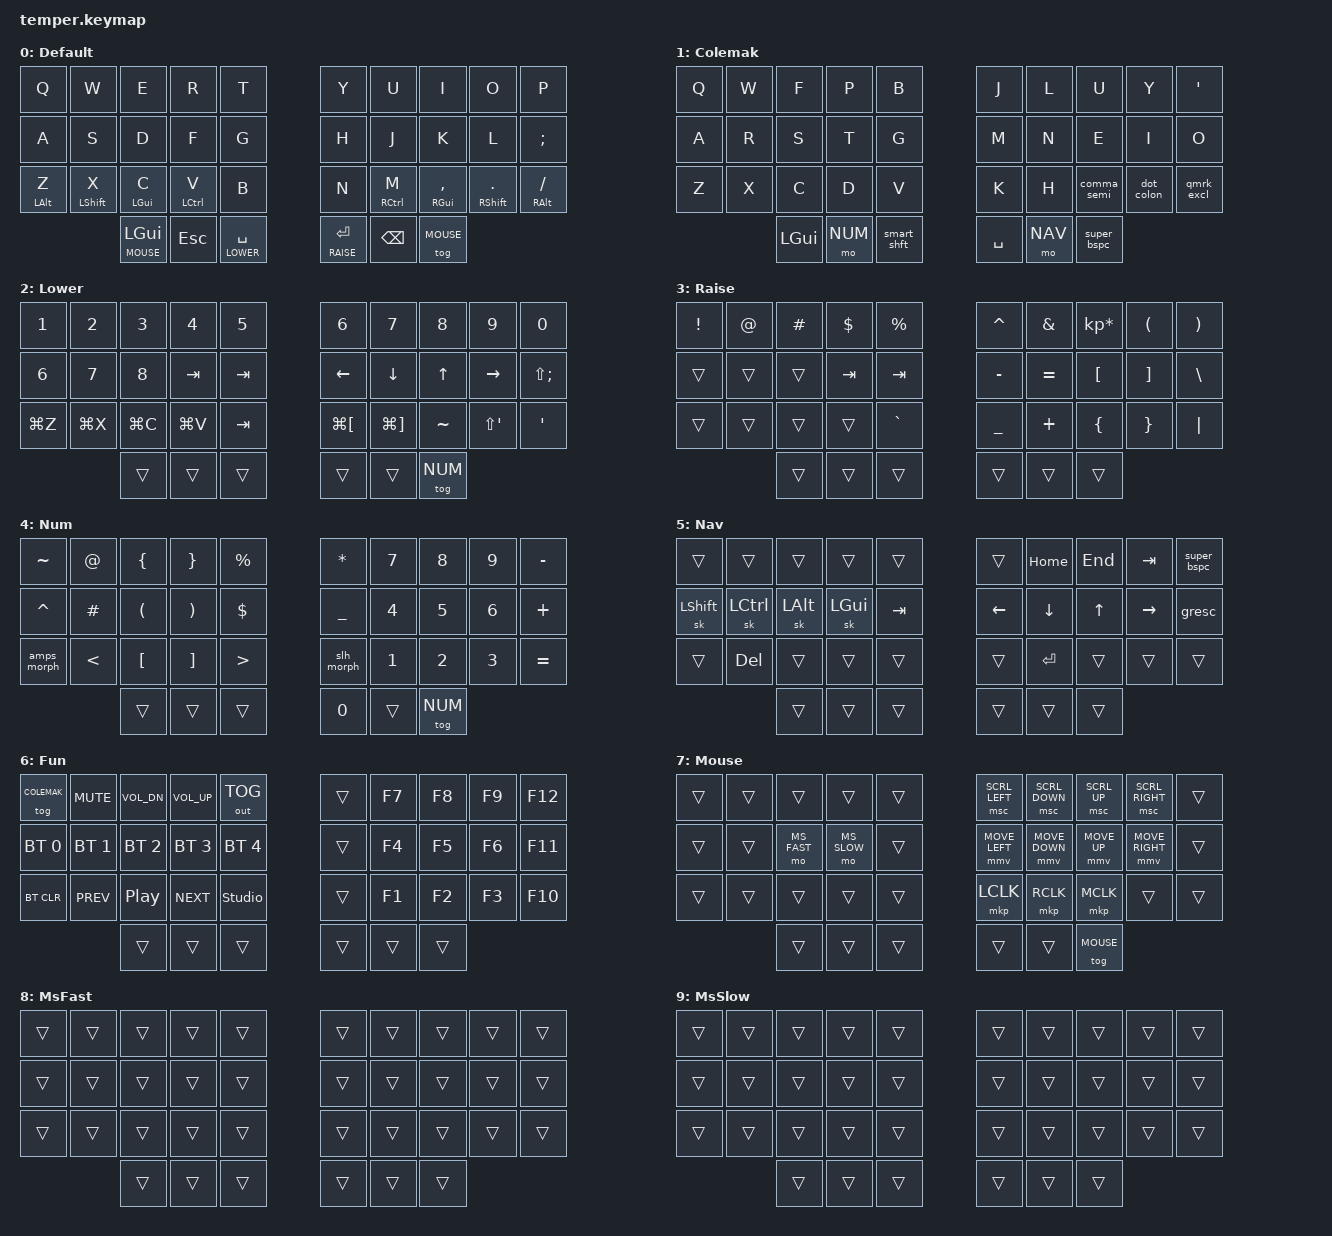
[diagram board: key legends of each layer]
/*
 * Copyright (c) 2020 The ZMK Contributors
 *
 * SPDX-License-Identifier: MIT
 */

#include <behaviors.dtsi>
#include <dt-bindings/zmk/keys.h>
#include <dt-bindings/zmk/bt.h>
#include <dt-bindings/zmk/outputs.h>
// Mouse speed tuning — currently at ZMK defaults; bump these to go faster.
#define ZMK_POINTING_DEFAULT_MOVE_VAL 600   // default: 600
#define ZMK_POINTING_DEFAULT_SCRL_VAL 10    // default: 10
#include <dt-bindings/zmk/pointing.h>
#include <input/processors.dtsi>

#define DEFAULT 0
#define COLEMAK 1
#define LOWER 2
#define RAISE 3
#define NUM 4
#define NAV 5
#define FUN 6
#define MOUSE 7
#define MS_FAST 8
#define MS_SLOW 9

#define NUMS 3
#define ADJUST 4
#define LOCK 5

#define BACK C_AC_BACK
#define FWD C_AC_FORWARD
#define PAUSE PAUSE_BREAK
#define VOL_DN C_VOL_DN
#define VOL_UP C_VOL_UP

#define LC_SPC LC(SPACE)
#define ZM_IN LC(EQUAL)
#define ZM_OUT LC(MINUS)
#define ZM_RST LC(N0)

#define BT0 BT_SEL 0
#define BT1 BT_SEL 1
#define BT2 BT_SEL 2
#define BT3 BT_SEL 3
#define BT4 BT_SEL 4


#define HYP LS(LC(LA(LGUI)))
#define HYPER(key) LS(LC(LA(LG(key))))

// key positions
// --------------------------------------------------------------------------------
//  |  0  |  1  |  2  |  3  |  4  |     |  5  |  6  |  7  |  8  |  9  |
//  |  10 |  11 |  12 |  13 |  14 |     |  15 |  16 |  17 |  18 |  19 |
//  |  20 |  21 |  22 |  23 |  24 |     |  25 |  26 |  27 |  28 |  29 |
//              |  30 |  31 |  32 |     |  33 |  34 |  35 |

#define KEYS_L 0 1 2 3 4 10 11 12 13 14 20 21 22 23 24 // left-hand keys
#define KEYS_R 5 6 7 8 9 15 16 17 18 19 25 26 27 28 29 // right-hand keys
#define THUMBS 30 31 32 33 34 35                       // thumb keys

// &nice_view_spi {
//  cs-gpios = <&pro_micro 0 GPIO_ACTIVE_HIGH>;
// };

&mt {
  retro-tap;
};

// Mouse speed overrides: when MS_FAST/MS_SLOW layers are active, scale pointer + scroll speed.
&mmv_input_listener {
  mmv_fast {
    layers = <MS_FAST>;
    input-processors = <&zip_xy_scaler 2 1>;   // 2x movement
  };
  mmv_slow {
    layers = <MS_SLOW>;
    input-processors = <&zip_xy_scaler 1 2>;   // 1/2 movement (precision)
  };
};

&msc_input_listener {
  msc_fast {
    layers = <MS_FAST>;
    input-processors = <&zip_scroll_scaler 2 1>;  // 2x scroll
  };
  msc_slow {
    layers = <MS_SLOW>;
    input-processors = <&zip_scroll_scaler 1 2>;  // 1/2 scroll
  };
};

&sk {
  //release-after-ms = <2000>;
  quick-release;
  // /delete-property/ ignore-modifiers;
};

&lt {
    quick-tap-ms = <200>;
    //tapping-term-ms = <250>;
};

/ {
  // conditional_layers {
  //   compatible = "zmk,conditional-layers";
  //
  //   tri_layer {
  //     if-layers = <LOWER RAISE>;
  //     then-layer = <ADJUST>;
  //   };
  // };
  conditional_layers {
    compatible = "zmk,conditional-layers";
    tri_layer {
      // if-layers = <NUM NAV>;
      if-layers = <LOWER RAISE>;
      then-layer = <FUN>;
    };
  };
  macros {
    none_blk: none_blk {
      label = "NON_BLOCKING";
      compatible = "zmk,behavior-macro";
      #binding-cells = <0>;
      bindings = <&macro_tap &kp LS(COMMA) &kp EQUAL>;
    };
   cmd_mode: cmd_mode {
      label = "VIM_CMD_MODE";
      compatible = "zmk,behavior-macro";
      #binding-cells = <0>;
      bindings = <&macro_tap &kp ESC &kp LS(SEMI)>;
    };
  };
  combos {
    compatible = "zmk,combos";

    combo_caps {
      timeout-ms = <50>;
      key-positions = <20 29>;
      bindings = <&caps_word>;
    };
    combo_esc { // J+K = ESC
      timeout-ms = <50>;
      key-positions = <16 17>;
      bindings = <&kp ESC>;
    };
    combo_vim_cmd { // L+; = ESC :
      timeout-ms = <50>;
      key-positions = <18 19>;
      bindings = <&cmd_mode>;
    };
  };
  behaviors {
    hml: home_mode_left {
      compatible = "zmk,behavior-hold-tap";
      label = "HML";
      #binding-cells = <2>;
      flavor = "balanced";
      tapping-term-ms = <280>;
      quick-tap-ms = <175>;                 // repeat on tap-into-hold
      require-prior-idle-ms = <150>;
      bindings = <&kp>, <&kp>;
      hold-trigger-key-positions = <KEYS_R THUMBS>;
      hold-trigger-on-release;              // delay positional check until key-release
    };
    hmr: home_mode_right {
      compatible = "zmk,behavior-hold-tap";
      label = "HMR";
      #binding-cells = <2>;
      flavor = "balanced";
      tapping-term-ms = <280>;
      quick-tap-ms = <175>;                 // repeat on tap-into-hold
      require-prior-idle-ms = <150>;
      bindings = <&kp>, <&kp>;
      hold-trigger-key-positions = <KEYS_L THUMBS>;
      hold-trigger-on-release;              // delay positional check until key-release
    };
    bspc_del: backspace_delete {
        compatible = "zmk,behavior-mod-morph";
        #binding-cells = <0>;
        bindings = <&kp BACKSPACE>, <&kp DELETE>;
        mods = <(MOD_LSFT|MOD_RSFT)>;
        keep-mods = <(MOD_RSFT)>;
    };
    super_bspc: super_backspace {
        compatible = "zmk,behavior-mod-morph";
        #binding-cells = <0>;
        bindings = <&kp BACKSPACE>, <&kp LA(BACKSPACE)>;
        mods = <(MOD_LSFT|MOD_RSFT)>;
    };
    smart_shft: smart_shift {
        compatible = "zmk,behavior-mod-morph";
        #binding-cells = <0>;
        bindings = <&kp LSHFT>, <&caps_word>;
        mods = <(MOD_LSFT)>;
    };
    comma_semi: comma_semi {
        compatible = "zmk,behavior-mod-morph";
        #binding-cells = <0>;
        bindings = <&kp COMMA>, <&kp SEMI>;
        mods = <(MOD_LSFT)>;
    };
    dot_colon: dot_colon {
        compatible = "zmk,behavior-mod-morph";
        #binding-cells = <0>;
        bindings = <&kp DOT>, <&kp COLON>;
        mods = <(MOD_LSFT)>;
    };
    qmrk_excl: qmrk_excl {
        compatible = "zmk,behavior-mod-morph";
        #binding-cells = <0>;
        bindings = <&kp QMARK>, <&kp EXCL>;
        mods = <(MOD_LSFT)>;
    };
    slh_morph: slh_morph {
        compatible = "zmk,behavior-mod-morph";
        #binding-cells = <0>;
        bindings = <&kp FSLH>, <&kp BSLH>;
        mods = <(MOD_LSFT)>;
    };
    amps_morph: amps_morph {
        compatible = "zmk,behavior-mod-morph";
        #binding-cells = <0>;
        bindings = <&kp AMPS>, <&kp PIPE>;
        mods = <(MOD_LSFT)>;
    };
    mlt: mouse_layer_tap {
        compatible = "zmk,behavior-hold-tap";
        label = "MOUSE_LAYER_TAP";
        #binding-cells = <2>;
        flavor = "balanced";       // activate layer cleanly while held, tap still sends the key
        tapping-term-ms = <200>;
        quick-tap-ms = <200>;
        bindings = <&mo>, <&kp>;
    };
  };
        keymap {
                compatible = "zmk,keymap";

                default_layer {
                        display-name = "Default";
                        bindings = <
// ╭─────────────┬─────────────┬─────────────┬─────────────┬─────────────╮   ╭─────────────┬─────────────┬─────────────┬─────────────┬─────────────╮
        &kp Q         &kp W         &kp E         &kp R         &kp T              &kp Y        &kp U         &kp I         &kp O         &kp P   
// ├─────────────┼─────────────┼─────────────┼─────────────┼─────────────┤   ├─────────────┼─────────────┼─────────────┼─────────────┼─────────────┤
        &kp A         &kp S         &kp D         &kp F         &kp G              &kp H        &kp J         &kp K         &kp L       &kp SEMI
// ├─────────────┼─────────────┼─────────────┼─────────────┼─────────────┤   ├─────────────┼─────────────┼─────────────┼─────────────┼─────────────┤
    &hml LALT Z    &hml LSHFT X  &hml LGUI C   &hml LCTRL V     &kp B              &kp N    &hmr RCTRL M &hmr RGUI COMMA &hmr RSHFT DOT &hmr RALT FSLH
// ╰─────────────┴─────────────┼─────────────┼─────────────┼─────────────┤   ├─────────────┼─────────────┼─────────────┼─────────────┴─────────────╯
                              &mlt MOUSE LGUI  &kp ESC      &lt LOWER SPACE   &lt RAISE RET  &kp BSPC    &tog MOUSE
//                             ╰─────────────┴─────────────┴─────────────╯   ╰─────────────┴─────────────┴─────────────╯
                        >;
                };
                colemak_layer {
                        display-name = "Colemak";
                        bindings = <
// ╭─────────────┬─────────────┬─────────────┬─────────────┬─────────────╮   ╭─────────────┬─────────────┬─────────────┬─────────────┬─────────────╮
        &kp Q         &kp W         &kp F         &kp P         &kp B             &kp J         &kp L         &kp U         &kp Y       &kp APOS   
// ├─────────────┼─────────────┼─────────────┼─────────────┼─────────────┤   ├─────────────┼─────────────┼─────────────┼─────────────┼─────────────┤
        &kp A         &kp R         &kp S         &kp T         &kp G             &kp M         &kp N         &kp E         &kp I         &kp O
// ├─────────────┼─────────────┼─────────────┼─────────────┼─────────────┤   ├─────────────┼─────────────┼─────────────┼─────────────┼─────────────┤
        &kp Z         &kp X         &kp C         &kp D         &kp V             &kp K         &kp H      &comma_semi    &dot_colon    &qmrk_excl
// ╰─────────────┴─────────────┼─────────────┼─────────────┼─────────────┤   ├─────────────┼─────────────┼─────────────┼─────────────┴─────────────╯
                                   &kp LGUI      &mo NUM     &smart_shft        &kp SPACE      &mo NAV     &super_bspc
//                             ╰─────────────┴─────────────┴─────────────╯   ╰─────────────┴─────────────┴─────────────╯
                        >;
                };
                lower_layer {
                        display-name = "Lower";
                        bindings = <
// ╭─────────────┬─────────────┬─────────────┬─────────────┬─────────────╮   ╭─────────────┬─────────────┬─────────────┬─────────────┬─────────────╮
        &kp N1        &kp N2        &kp N3        &kp N4        &kp N5             &kp N6       &kp N7        &kp N8        &kp N9        &kp N0  
// ├─────────────┼─────────────┼─────────────┼─────────────┼─────────────┤   ├─────────────┼─────────────┼─────────────┼─────────────┼─────────────┤
        &kp N6        &kp N7        &kp N8        &kp TAB       &kp TAB         &kp LEFT      &kp DOWN        &kp UP       &kp RIGHT   &kp LS(SEMI)
// ├─────────────┼─────────────┼─────────────┼─────────────┼─────────────┤   ├─────────────┼─────────────┼─────────────┼─────────────┼─────────────┤
       &kp LG(Z)    &kp LG(X)     &kp LG(C)     &kp LG(V)       &kp TAB       &kp LG(LBKT)  &kp LG(RBKT)     &kp TILDE    &kp LS(SQT)    &kp SQT 
// ╰─────────────┴─────────────┼─────────────┼─────────────┼─────────────┤   ├─────────────┼─────────────┼─────────────┼─────────────┴─────────────╯
                                    &trans        &trans        &trans            &trans        &trans       &tog NUM
//                             ╰─────────────┴─────────────┴─────────────╯   ╰─────────────┴─────────────┴─────────────╯
                        >;
                };

                raise_layer {
                        display-name = "Raise";
                        bindings = <
// ╭─────────────┬─────────────┬─────────────┬─────────────┬─────────────╮   ╭─────────────┬─────────────┬─────────────┬─────────────┬─────────────╮
        &kp EXCL      &kp AT        &kp HASH      &kp DLLR      &kp PRCNT       &kp CARET       &kp AMPS &kp KP_MULTIPLY    &kp LPAR      &kp RPAR
// ├─────────────┼─────────────┼─────────────┼─────────────┼─────────────┤   ├─────────────┼─────────────┼─────────────┼─────────────┼─────────────┤
        &trans        &trans        &trans        &kp TAB       &kp TAB         &kp MINUS       &kp EQUAL     &kp LBKT      &kp RBKT      &kp BSLH   
// ├─────────────┼─────────────┼─────────────┼─────────────┼─────────────┤   ├─────────────┼─────────────┼─────────────┼─────────────┼─────────────┤
        &trans        &trans        &trans        &trans      &kp GRAVE         &kp UNDER       &kp PLUS      &kp LBRC      &kp RBRC      &kp PIPE
// ╰─────────────┴─────────────┼─────────────┼─────────────┼─────────────┤   ├─────────────┼─────────────┼─────────────┼─────────────┴─────────────╯
                                    &trans        &trans        &trans            &trans        &trans        &trans
//                             ╰─────────────┴─────────────┴─────────────╯   ╰─────────────┴─────────────┴─────────────╯
//                             &none_blk &kp GRAVE   &kp TILDE
                        >;
                };
                num_layer {
                        display-name = "Num";
                        bindings = <
// ╭─────────────┬─────────────┬─────────────┬─────────────┬─────────────╮   ╭─────────────┬─────────────┬─────────────┬─────────────┬─────────────╮
      &kp TILDE       &kp AT       &kp LBRC      &kp RBRC     &kp PRCNT          &kp STAR       &kp N7        &kp N8        &kp N9      &kp MINUS
// ├─────────────┼─────────────┼─────────────┼─────────────┼─────────────┤   ├─────────────┼─────────────┼─────────────┼─────────────┼─────────────┤
      &kp CARET      &kp HASH      &kp LPAR      &kp RPAR      &kp DLLR         &kp UNDER       &kp N4        &kp N5        &kp N6      &kp PLUS
// ├─────────────┼─────────────┼─────────────┼─────────────┼─────────────┤   ├─────────────┼─────────────┼─────────────┼─────────────┼─────────────┤
      &amps_morph     &kp LT       &kp LBKT      &kp RBKT       &kp GT          &slh_morph      &kp N1        &kp N2        &kp N3      &kp EQUAL
// ╰─────────────┴─────────────┼─────────────┼─────────────┼─────────────┤   ├─────────────┼─────────────┼─────────────┼─────────────┴─────────────╯
                                    &trans        &trans        &trans            &kp N0        &trans        &tog NUM
//                             ╰─────────────┴─────────────┴─────────────╯   ╰─────────────┴─────────────┴─────────────╯
                        >;
                };

                nav_layer {
                        display-name = "Nav";
                        bindings = <
// ╭─────────────┬─────────────┬─────────────┬─────────────┬─────────────╮   ╭─────────────┬─────────────┬─────────────┬─────────────┬─────────────╮
        &trans        &trans        &trans        &trans        &trans            &trans       &kp HOME      &kp END       &kp TAB     &super_bspc
// ├─────────────┼─────────────┼─────────────┼─────────────┼─────────────┤   ├─────────────┼─────────────┼─────────────┼─────────────┼─────────────┤
      &sk LSHFT     &sk LCTRL      &sk LALT      &sk LGUI      &kp TAB           &kp LEFT      &kp DOWN       &kp UP      &kp RIGHT       &gresc
// ├─────────────┼─────────────┼─────────────┼─────────────┼─────────────┤   ├─────────────┼─────────────┼─────────────┼─────────────┼─────────────┤
        &trans       &kp DEL        &trans        &trans        &trans            &trans        &kp RET       &trans        &trans        &trans
// ╰─────────────┴─────────────┼─────────────┼─────────────┼─────────────┤   ├─────────────┼─────────────┼─────────────┼─────────────┴─────────────╯
                                    &trans        &trans        &trans            &trans        &trans        &trans
//                             ╰─────────────┴─────────────┴─────────────╯   ╰─────────────┴─────────────┴─────────────╯
                        >;
                };
                fun_layer {
                        display-name = "Fun";
                        bindings = <
// ╭─────────────┬─────────────┬─────────────┬─────────────┬─────────────╮   ╭─────────────┬─────────────┬─────────────┬─────────────┬─────────────╮
     &tog COLEMAK  &kp K_MUTE    &kp C_VOL_DN  &kp C_VOL_UP  &out OUT_TOG        &trans        &kp F7        &kp F8        &kp F9       &kp F12
// ├─────────────┼─────────────┼─────────────┼─────────────┼─────────────┤   ├─────────────┼─────────────┼─────────────┼─────────────┼─────────────┤
     &bt BT_SEL 0  &bt BT_SEL 1  &bt BT_SEL 2  &bt BT_SEL 3  &bt BT_SEL 4         &trans        &kp F4        &kp F5        &kp F6       &kp F11
// ├─────────────┼─────────────┼─────────────┼─────────────┼─────────────┤   ├─────────────┼─────────────┼─────────────┼─────────────┼─────────────┤
      &bt BT_CLR    &kp C_PREV     &kp C_PP     &kp C_NEXT  &studio_unlock        &trans        &kp F1        &kp F2        &kp F3       &kp F10
// ╰─────────────┴─────────────┼─────────────┼─────────────┼─────────────┤   ├─────────────┼─────────────┼─────────────┼─────────────┴─────────────╯
                                    &trans        &trans        &trans            &trans        &trans        &trans
//                             ╰─────────────┴─────────────┴─────────────╯   ╰─────────────┴─────────────┴─────────────╯
                        >;
                };
                mouse_layer {
                        display-name = "Mouse";
                        bindings = <
// ╭─────────────┬─────────────┬─────────────┬─────────────┬─────────────╮   ╭─────────────┬─────────────┬─────────────┬─────────────┬─────────────╮
        &trans        &trans        &trans        &trans        &trans         &msc SCRL_LEFT &msc SCRL_DOWN  &msc SCRL_UP &msc SCRL_RIGHT   &trans
// ├─────────────┼─────────────┼─────────────┼─────────────┼─────────────┤   ├─────────────┼─────────────┼─────────────┼─────────────┼─────────────┤
        &trans        &trans      &mo MS_FAST    &mo MS_SLOW     &trans         &mmv MOVE_LEFT &mmv MOVE_DOWN  &mmv MOVE_UP &mmv MOVE_RIGHT   &trans
// ├─────────────┼─────────────┼─────────────┼─────────────┼─────────────┤   ├─────────────┼─────────────┼─────────────┼─────────────┼─────────────┤
        &trans        &trans        &trans        &trans        &trans          &mkp LCLK     &mkp RCLK     &mkp MCLK       &trans        &trans
// ╰─────────────┴─────────────┼─────────────┼─────────────┼─────────────┤   ├─────────────┼─────────────┼─────────────┼─────────────┴─────────────╯
                                    &trans        &trans        &trans            &trans        &trans     &tog MOUSE
//                             ╰─────────────┴─────────────┴─────────────╯   ╰─────────────┴─────────────┴─────────────╯
                        >;
                };
                ms_fast_layer {
                        // Held via &mo MS_FAST on the Mouse layer. All transparent so the
                        // Mouse layer's keys still work; being active triggers the 2x scaler.
                        display-name = "MsFast";
                        bindings = <
        &trans        &trans        &trans        &trans        &trans            &trans        &trans        &trans        &trans        &trans
        &trans        &trans        &trans        &trans        &trans            &trans        &trans        &trans        &trans        &trans
        &trans        &trans        &trans        &trans        &trans            &trans        &trans        &trans        &trans        &trans
                                    &trans        &trans        &trans            &trans        &trans        &trans
                        >;
                };
                ms_slow_layer {
                        // Held via &mo MS_SLOW on the Mouse layer. Triggers the 1/2 (precision) scaler.
                        display-name = "MsSlow";
                        bindings = <
        &trans        &trans        &trans        &trans        &trans            &trans        &trans        &trans        &trans        &trans
        &trans        &trans        &trans        &trans        &trans            &trans        &trans        &trans        &trans        &trans
        &trans        &trans        &trans        &trans        &trans            &trans        &trans        &trans        &trans        &trans
                                    &trans        &trans        &trans            &trans        &trans        &trans
                        >;
                };
        };
};
